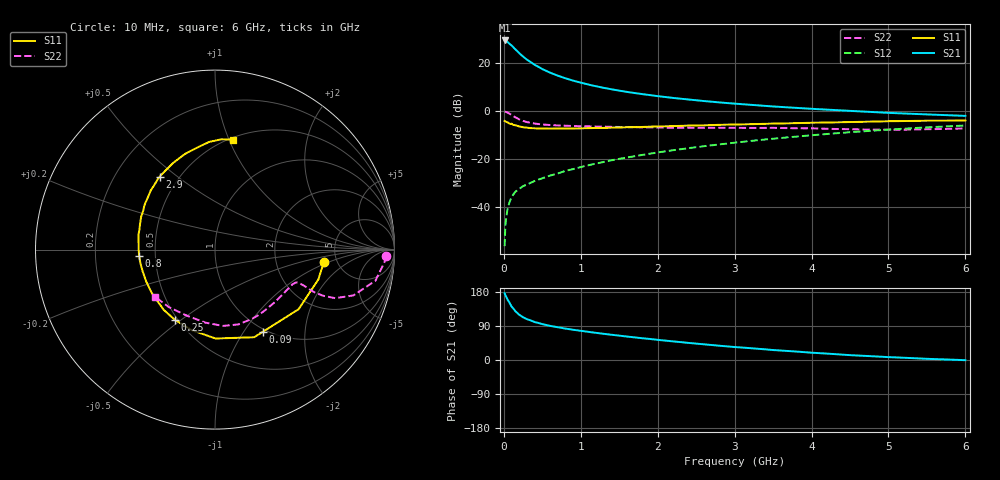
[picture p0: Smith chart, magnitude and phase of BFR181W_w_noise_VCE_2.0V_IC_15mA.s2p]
! Infineon Technologies  Discrete & RF Semiconductors
! BFR181W
! VCE =  2.0 V,  IC =  15 mA
! Common Emitter S-Parameters:  Jan 2017
# GHz  S  MA  R  50
!  f  S11  S21  S12  S22
! GHz  MAG  ANG  MAG  ANG  MAG  ANG  MAG  ANG
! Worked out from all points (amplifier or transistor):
!   77 points, 10 MHz to 6 GHz, reference 50 ohm
!   highest |S21| = 29.2 dB at 10 MHz (marker M1)
!   |S21| within 3 dB of that: start of sweep to 128.3 MHz
!   unconditionally stable (mu >= 1): 494.9 MHz to 2.778 GHz
!   at 130 MHz: K = 0.44, MSG = 30.4 dB, |S12| = -34.7 dB
!   at 2.2 GHz: K = 1.08, MAG = 9.1 dB, |S12| = -16.5 dB
!   at 6 GHz: K = 0.89, MSG = 2.0 dB, |S12| = -6.2 dB
!   lowest NFmin = 1.47 dB at 450 MHz
!   S11 on the Smith chart (normalised r, x): 10 MHz: 3.91, -0.89; 90 MHz: 0.97, -1.23; 250 MHz: 0.48, -0.47; 800 MHz: 0.40, -0.03; 2.9 GHz: 0.39, +0.43; 6 GHz: 0.52, +1.03
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0.01  0.6098 -6.7  28.9 176.3  0.0015 83.2  0.9542 -2.1
0.02  0.5995 -16.1  28.55 171.0  0.0041 93.7  0.9468 -4.3
0.05  0.5721 -35.5  26.82 158.7  0.0091 74.0  0.9103 -11.0
0.09  0.5297 -59.6  23.39 145.1  0.0144 67.4  0.8307 -16.7
0.1  0.5348 -65.9  22.78 141.1  0.0158 66.5  0.8122 -18.3
0.15  0.4954 -89.6  18.89 128.7  0.0204 60.7  0.7226 -22.0
0.2  0.4672 -106.2  15.71 119.5  0.0233 59.1  0.6562 -23.1
0.25  0.4504 -119.9  13.35 112.8  0.0268 57.6  0.6097 -23.3
0.3  0.4409 -130.4  11.51 107.7  0.0287 58.1  0.5764 -22.9
0.4  0.4278 -144.8  9 100.2  0.0341 59.7  0.5368 -22.1
0.5  0.4225 -155.2  7.326 94.7  0.039 61.9  0.5144 -21.8
0.6  0.4211 -163.5  6.187 90.2  0.0442 64.4  0.5001 -21.6
0.8  0.4242 -175.5  4.717 82.9  0.0555 68.5  0.4835 -22.5
0.9  0.4254 179.9  4.208 79.8  0.0604 69.3  0.478 -23.4
1.1  0.4309 171.9  3.486 74.3  0.0728 71.5  0.4696 -25.4
1.5  0.4446 159.0  2.603 64.3  0.0988 73.3  0.4561 -31.0
2.1  0.4708 143.8  1.917 51.2  0.1418 72.9  0.4422 -42.3
2.9  0.509 127.4  1.438 36.0  0.2059 69.3  0.4372 -59.7
3.1  0.5167 123.5  1.359 32.8  0.2235 67.9  0.436 -64.0
4.1  0.5612 106.0  1.068 18.1  0.3156 59.5  0.4223 -86.6
5.1  0.6031 91.8  0.884 6.8  0.4103 48.7  0.3997 -116.0
6  0.6205 80.7  0.776 -0.5  0.49 38.1  0.426 -142.0
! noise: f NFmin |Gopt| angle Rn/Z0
0.45  1.47  0.04  14  0.21
0.9  1.52  0.04  31  0.21
1.9  1.95  0.13  -139  0.22
2.4  2.2  0.16  -109  0.28
